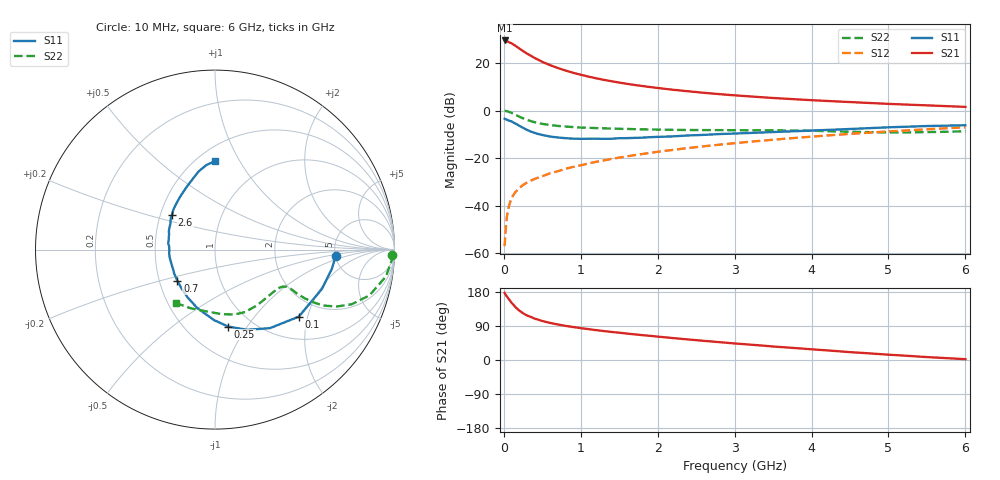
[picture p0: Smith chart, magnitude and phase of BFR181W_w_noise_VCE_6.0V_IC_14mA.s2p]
! Infineon Technologies  Discrete & RF Semiconductors
! BFR181W
! VCE =  6.0 V,  IC =  14 mA
! Common Emitter S-Parameters:  Jan 2017
# GHz  S  MA  R  50
!  f  S11  S21  S12  S22
! GHz  MAG  ANG  MAG  ANG  MAG  ANG  MAG  ANG
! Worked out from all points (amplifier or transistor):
!   77 points, 10 MHz to 6 GHz, reference 50 ohm
!   highest |S21| = 29.5 dB at 10 MHz (marker M1)
!   |S21| within 3 dB of that: start of sweep to 184 MHz
!   unconditionally stable (mu >= 1): 877.3 MHz to 2.761 GHz
!   at 130 MHz: K = 0.34, MSG = 31.5 dB, |S12| = -35.2 dB
!   at 2.2 GHz: K = 1.04, MAG = 11.4 dB, |S12| = -16.5 dB
!   at 6 GHz: K = 0.84, MSG = 4.3 dB, |S12| = -7.0 dB
!   lowest NFmin = 1.43 dB at 450 MHz
!   S11 on the Smith chart (normalised r, x): 10 MHz: 5.03, -0.67; 100 MHz: 1.52, -1.76; 250 MHz: 0.78, -0.82; 700 MHz: 0.62, -0.23; 2.6 GHz: 0.57, +0.25; 6 GHz: 0.61, +0.79
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0.01  0.6731 -3.1  30.02 177.0  0.0014 78.5  0.9883 -1.6
0.02  0.66 -9.3  29.52 173.2  0.0025 82.0  0.987 -3.4
0.05  0.6352 -20.1  28.59 164.7  0.0074 83.8  0.9647 -8.9
0.1  0.598 -38.6  26.15 150.9  0.0144 73.6  0.8976 -16.5
0.15  0.5343 -55.0  23.24 139.7  0.0192 67.9  0.8201 -21.8
0.2  0.4811 -68.2  20.38 130.5  0.0235 66.7  0.748 -25.1
0.25  0.4348 -80.3  17.98 123.3  0.0272 63.3  0.6883 -27.0
0.3  0.3931 -90.7  15.9 117.6  0.0305 62.4  0.6379 -28.0
0.4  0.3405 -106.8  12.84 109.1  0.0365 64.1  0.5701 -28.5
0.5  0.3069 -119.9  10.65 102.9  0.0415 64.4  0.5266 -28.3
0.6  0.2849 -131.2  9.094 97.9  0.0479 65.3  0.4975 -27.8
0.7  0.272 -140.4  7.902 93.8  0.0528 67.1  0.4767 -27.4
0.9  0.257 -156.3  6.266 87.0  0.0651 68.4  0.4507 -27.6
1.1  0.2559 -168.9  5.209 81.5  0.077 69.7  0.4354 -28.2
1.3  0.2547 -179.5  4.446 76.4  0.0893 69.8  0.4238 -29.6
1.5  0.2628 172.5  3.894 72.0  0.1026 69.9  0.4141 -31.4
2.1  0.2834 152.8  2.871 59.8  0.1424 68.8  0.3961 -39.8
2.6  0.3087 140.8  2.373 50.5  0.1773 66.6  0.3892 -48.6
3.1  0.3339 130.5  2.045 42.2  0.2138 63.8  0.3861 -57.5
4.1  0.3863 113.5  1.629 26.8  0.2911 56.8  0.3729 -75.7
5.1  0.4507 100.5  1.367 12.8  0.3723 48.3  0.347 -101.2
6  0.4922 90.2  1.2 2.1  0.4468 39.6  0.3684 -126.1
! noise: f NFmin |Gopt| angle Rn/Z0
0.45  1.43  0.06  16  0.21
0.9  1.48  0.06  32  0.21
1.9  1.92  0.11  -141  0.21
2.4  2.13  0.14  -109  0.27
